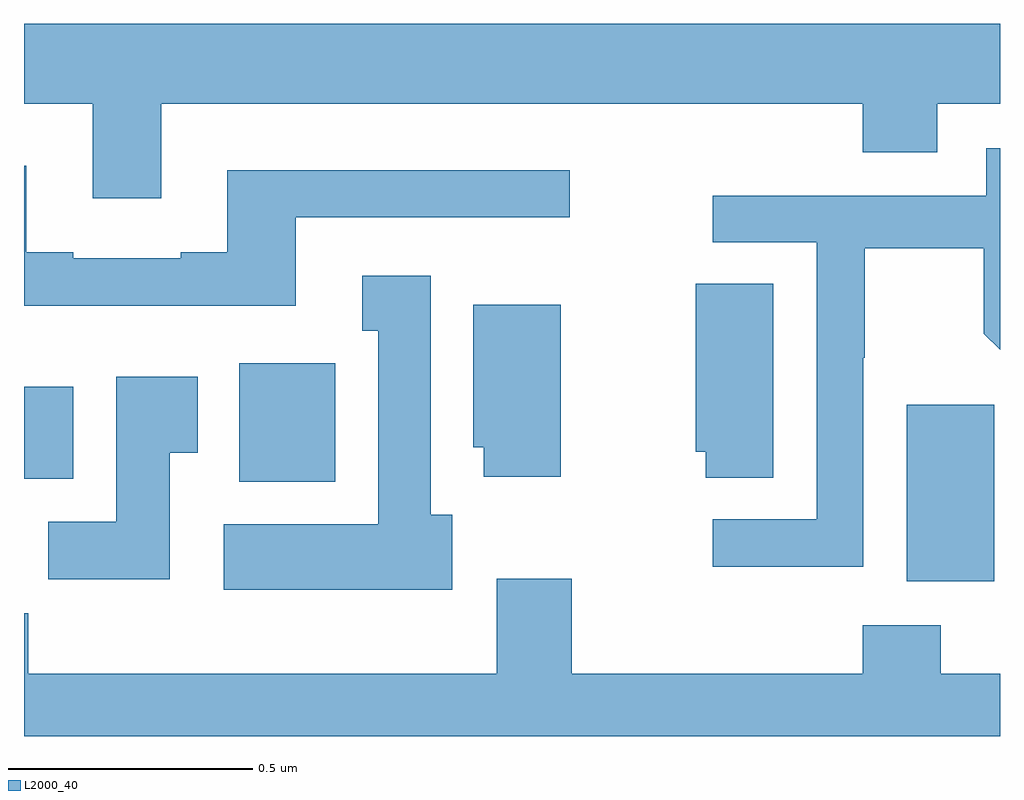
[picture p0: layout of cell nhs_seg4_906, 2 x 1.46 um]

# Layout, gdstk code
import gdstk
lib = gdstk.Library(unit=1e-6, precision=1e-09)
def R(c, l, rs):  # rectangles x0, y0, x1, y1
    for r in rs: c.add(gdstk.rectangle(r[:2], r[2:], *l))
def P(c, l, *ps):  # polygons
    for p in ps: c.add(gdstk.Polygon(p, *l))
L2000_40 = (2000, 40)

nhs_seg4_906 = lib.new_cell('nhs_seg4_906')
R(nhs_seg4_906, L2000_40, [(123.809,753.218,123.988,753.579), (122.441,753.422,122.638,753.664), (122,753.428,122.101,753.616)])
P(nhs_seg4_906, L2000_40, [(122.281,754.196),(123.719,754.196),(123.719,754.097),(123.871,754.097),(123.871,754.196),(124,754.196),(124,754.36),(122,754.36),(122,754.196),(122.141,754.196),(122.141,754.002),(122.281,754.002)],
  [(123.624,753.912),(123.624,753.345),(123.411,753.345),(123.411,753.247),(123.72,753.247),(123.72,753.676),(123.723,753.676),(123.723,753.9),(123.967,753.9),(123.967,753.725),(124,753.692),(124,754.105),(123.972,754.105),(123.972,754.008),(123.411,754.008),(123.411,753.912)],
  [(122.557,753.963),(123.118,753.963),(123.118,754.06),(122.417,754.06),(122.417,753.892),(122.321,753.892),(122.321,753.879),(122.101,753.879),(122.101,753.892),(122.005,753.892),(122.005,754.069),(122,754.069),(122,753.782),(122.557,753.782)],
  [(122.878,753.354),(122.833,753.354),(122.833,753.844),(122.693,753.844),(122.693,753.731),(122.726,753.731),(122.726,753.334),(122.409,753.334),(122.409,753.2),(122.878,753.2)],
  [(123.535,753.827),(123.377,753.827),(123.377,753.483),(123.397,753.483),(123.397,753.43),(123.535,753.43)],
  [(123.1,753.784),(122.921,753.784),(122.921,753.492),(122.942,753.492),(122.942,753.432),(123.1,753.432)],
  [(122.299,753.481),(122.356,753.481),(122.356,753.637),(122.189,753.637),(122.189,753.34),(122.05,753.34),(122.05,753.222),(122.299,753.222)],
  [(124,753.028),(123.879,753.028),(123.879,753.127),(123.719,753.127),(123.719,753.028),(123.122,753.028),(123.122,753.223),(122.969,753.223),(122.969,753.028),(122.009,753.028),(122.009,753.152),(122,753.152),(122,752.9),(124,752.9)])

lib.write_gds('nhs_seg4_906.gds')
